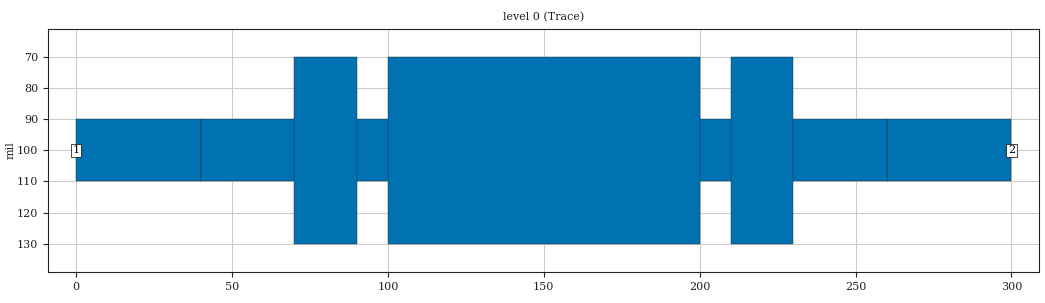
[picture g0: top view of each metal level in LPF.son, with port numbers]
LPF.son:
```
FTYP SONPROJ 19 ! Sonnet Project File
VER 18.58
HEADER
LIC carleton6.2.98695
DAT 01/21/2025 19:48:39
BUILT_BY_CREATED xgeom 18.56 01/10/2025 17:09:46
BUILT_BY_SAVED sonnet 18.58
MDATE 01/21/2025 19:48:39
HDATE 01/21/2025 19:48:39
END HEADER
DIM
ANG DEG
CAP PF
CON /OH
FREQ GHZ
IND NH
LNG MIL
RES OH
END DIM
CONTROL
VARSWP
OPTIONS  -d
SPEED 0
CACHE_ABS 2
Q_ACC N
END CONTROL
GEO
TMET "Lossless" 0 SUP 0 0 0 0
BMET "Lossless" 0 SUP 0 0 0 0
MET "Copper" 1 NOR 58000000 0 2 
BOX 1 300 200 600 400 20 0
      200 1 1 0 0 0 0 "Air"
      20 9.9 1 0.0001 0 0 0 "Alumina (99.5%)"
TECHLAY METAL Trace <UNSPECIFIED> -2 -65534 
0 0 0 N 141 1 1 100 100 0 0 0 Y
END
END
VALVAR length LNG 100 "Dim. Param."
VALVAR w2 LNG 98.425196850394 "Dim. Param."
VALVAR l LNG 14.763779527559 "Dim. Param."
VALVAR sep LNG 10 "Dim. Param."
VALVAR w LNG 88.582677165354 "Dim. Param."
VALVAR width LNG 20 "Dim. Param."
VALVAR x1 LNG 39.370078740157 "Dim. Param."
VALVAR x2 LNG 137.79527559055 "Dim. Param."
VALVAR x3 LNG 49.212598425197 "Dim. Param."
VALVAR x4 LNG 39.370078740157 "Dim. Param."
VALVAR height LNG 20 "Dim. Param."
LORGN 0 200 U 
POR1 BOX
POLY 123 1
3
1 50 0 0 0 0 100 
POR1 BOX
POLY 124 1
1
2 50 0 0 0 300 100 
NUM 7
0 5 0 N 123 1 1 100 100 0 0 0 Y
TLAYNAM Trace INH
0 90
40 90
40 110
0 110
0 90
END
0 5 0 N 124 1 1 100 100 0 0 0 Y
TLAYNAM Trace INH
260 90
300 90
300 110
260 110
260 90
END
0 5 0 N 125 1 1 100 100 0 0 0 Y
TLAYNAM Trace INH
40 90
150 90
150 110
40 110
40 90
END
0 5 0 N 127 1 1 100 100 0 0 0 Y
TLAYNAM Trace INH
150 90
260 90
260 110
150 110
150 90
END
0 5 0 N 128 1 1 100 100 0 0 0 Y
TLAYNAM Trace INH
70 70
90 70
90 130
70 130
70 70
END
0 5 0 N 130 1 1 100 100 0 0 0 Y
TLAYNAM Trace INH
100 70
200 70
200 130
100 130
100 70
END
0 5 0 N 131 1 1 100 100 0 0 0 Y
TLAYNAM Trace INH
210 70
230 70
230 130
210 130
210 70
END
END GEO
OPT
MAX 100
END OPT
VARSWP
SWPVARS ON
ENABLED Y
FREQ Y AY ABS_ENTRY 1.0 20.0 -1 300 
VAR width Y 10.0 37.0 3.0
VAR length Y 100.0 136.0 4.0
VAR length Y 100.0 136.0 4.0
VAR sep Y 10.0 46.0 4.0
VAR sep Y 10.0 46.0 4.0
VAR height Y 40.0 76.0 4.0
END
END VARSWP
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```
